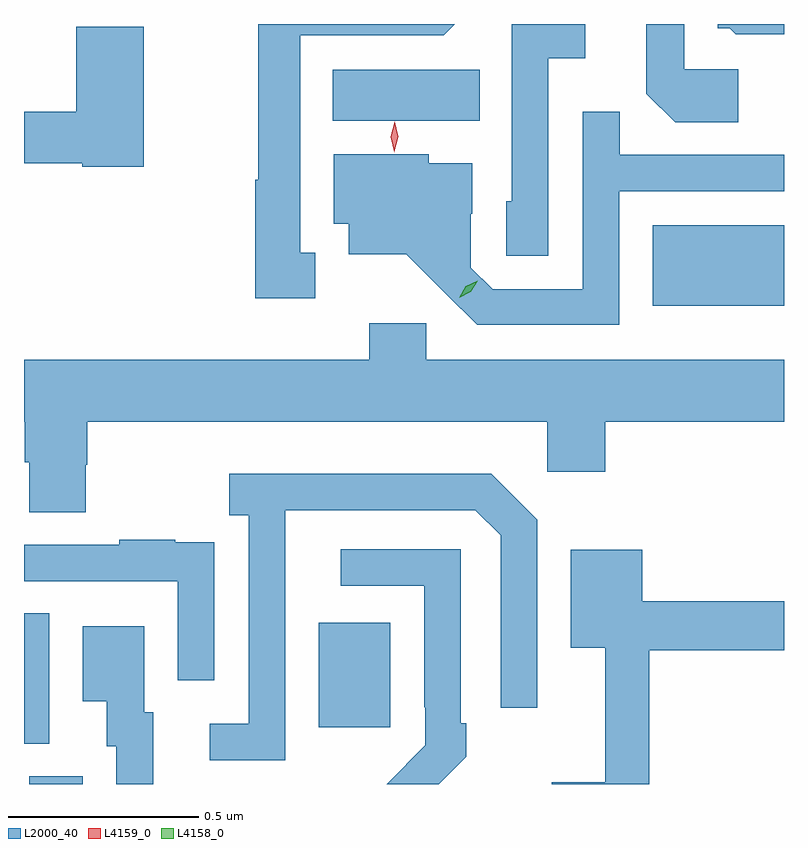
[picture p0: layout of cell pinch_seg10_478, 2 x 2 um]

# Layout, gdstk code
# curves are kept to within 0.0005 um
import gdstk
lib = gdstk.Library(unit=1e-6, precision=1e-09)
def R(c, l, rs):  # rectangles x0, y0, x1, y1
    for r in rs: c.add(gdstk.rectangle(r[:2], r[2:], *l))
def P(c, l, *ps):  # polygons
    for p in ps: c.add(gdstk.Polygon(p, *l))
L2000_40 = (2000, 40)
L4158_0 = (4158, 0)
L4159_0 = (4159, 0)

pinch_seg10_478 = lib.new_cell('pinch_seg10_478')
R(pinch_seg10_478, L2000_40, [(348.137,1302.027,348.277,1302.048), (348.123,1302.133,348.19,1302.476), (348.899,1302.177,349.087,1302.451), (349.778,1303.286,350.123,1303.498), (348.935,1303.772,349.322,1303.906)])
P(pinch_seg10_478, L2000_40, [(350.123,1304.027),(349.949,1304.027),(349.949,1304.016),(349.98,1304.016),(349.996,1304),(350.123,1304)],
  [(349.503,1303.937),(349.6,1303.937),(349.6,1304.027),(349.407,1304.027),(349.407,1303.56),(349.392,1303.56),(349.392,1303.417),(349.503,1303.417)],
  [(350.002,1303.908),(349.86,1303.908),(349.86,1304.027),(349.761,1304.027),(349.761,1303.844),(349.837,1303.768),(350.002,1303.768)],
  [(348.889,1303.425),(348.85,1303.425),(348.85,1303.998),(349.227,1303.998),(349.256,1304.027),(348.739,1304.027),(348.739,1303.617),(348.732,1303.617),(348.732,1303.305),(348.889,1303.305)],
  [(348.438,1304.02),(348.26,1304.02),(348.26,1303.796),(348.123,1303.796),(348.123,1303.66),(348.276,1303.66),(348.276,1303.652),(348.438,1303.652)],
  [(349.689,1303.587),(350.123,1303.587),(350.123,1303.683),(349.691,1303.683),(349.691,1303.796),(349.593,1303.796),(349.593,1303.329),(349.356,1303.329),(349.299,1303.386),(349.299,1303.528),(349.303,1303.528),(349.303,1303.66),(349.188,1303.66),(349.188,1303.684),(348.938,1303.684),(348.938,1303.502),(348.977,1303.502),(348.977,1303.421),(349.129,1303.421),(349.316,1303.236),(349.689,1303.236)],
  [(348.285,1302.867),(348.29,1302.867),(348.29,1302.98),(349.5,1302.98),(349.5,1302.849),(349.652,1302.849),(349.652,1302.98),(350.123,1302.98),(350.123,1303.144),(349.182,1303.144),(349.182,1303.24),(349.031,1303.24),(349.031,1303.144),(348.123,1303.144),(348.123,1302.98),(348.125,1302.98),(348.125,1302.874),(348.137,1302.874),(348.137,1302.742),(348.285,1302.742)],
  [(348.81,1302.547),(348.811,1302.547),(348.811,1302.747),(349.311,1302.747),(349.377,1302.681),(349.377,1302.228),(349.473,1302.228),(349.473,1302.723),(349.352,1302.844),(348.663,1302.844),(348.663,1302.734),(348.714,1302.734),(348.714,1302.186),(348.612,1302.186),(348.612,1302.09),(348.81,1302.09)],
  [(348.624,1302.554),(348.623,1302.554),(348.623,1302.663),(348.521,1302.663),(348.521,1302.67),(348.373,1302.67),(348.373,1302.657),(348.123,1302.657),(348.123,1302.561),(348.528,1302.561),(348.528,1302.3),(348.624,1302.3)],
  [(349.287,1302.099),(349.287,1302.187),(349.272,1302.187),(349.272,1302.645),(348.957,1302.645),(348.957,1302.549),(349.176,1302.549),(349.176,1302.229),(349.179,1302.229),(349.179,1302.129),(349.077,1302.027),(349.215,1302.027)],
  [(349.769,1302.379),(350.123,1302.379),(350.123,1302.508),(349.75,1302.508),(349.75,1302.643),(349.562,1302.643),(349.562,1302.386),(349.652,1302.386),(349.652,1302.031),(349.512,1302.031),(349.512,1302.027),(349.769,1302.027)],
  [(348.463,1302.216),(348.439,1302.216),(348.439,1302.442),(348.278,1302.442),(348.278,1302.245),(348.341,1302.245),(348.341,1302.126),(348.366,1302.126),(348.366,1302.027),(348.463,1302.027)])
P(pinch_seg10_478, L4158_0, [(349.268,1303.307),(349.268,1303.307),(349.286,1303.337),(349.317,1303.352),(349.317,1303.352),(349.317,1303.352),(349.299,1303.322),(349.268,1303.307)])
P(pinch_seg10_478, L4159_0, [(349.097,1303.69),(349.097,1303.691),(349.088,1303.73),(349.098,1303.77),(349.098,1303.77),(349.098,1303.77),(349.108,1303.73),(349.097,1303.691)])

lib.write_gds('pinch_seg10_478.gds')
